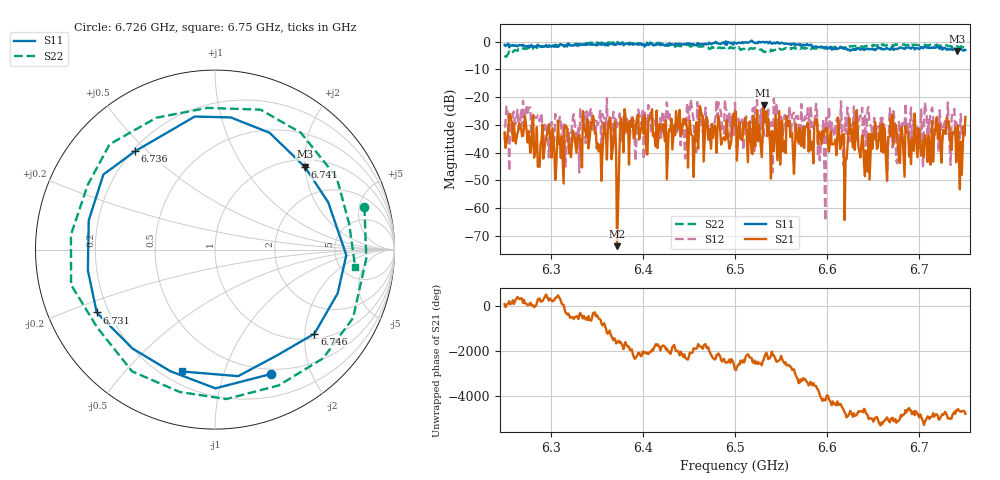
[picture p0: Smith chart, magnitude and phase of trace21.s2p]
# Hz S RI R 50
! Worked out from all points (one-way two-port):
!   401 points, 6.25 GHz to 6.75 GHz, reference 50 ohm
!   highest |S21| = -22.78 dB at 6.531 GHz (marker M1); lowest = -73.7 dB at 6.372 GHz (marker M2)
!   lowest |S11| = -3.3 dB at 6.741 GHz (marker M3), VSWR 5.26, Z = 58.1 + j99.8 ohm
!   |S11| at or under -10 dB: nowhere
!   |S22| runs from -5.6 to -0.1 dB; largest |S21 - S12| = 0.15
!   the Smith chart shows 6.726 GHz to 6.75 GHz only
!   S11 on the Smith chart (normalised r, x): 6.726 GHz: 0.44, -1.45; 6.731 GHz: 0.15, -0.24; 6.736 GHz: 0.21, +0.46; 6.741 GHz: 1.16, +2.00; 6.746 GHz: 1.13, -2.24; 6.75 GHz: 0.27, -0.73
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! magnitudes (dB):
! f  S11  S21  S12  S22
! 6.25 GHz  -1.2  -32.8  -35.5  -5.6
! 6.334 GHz  -1.0  -45.3  -29.0  -0.8
! 6.368 GHz  -1.1  -36.4  -25.3  -0.2
! 6.372 GHz  -0.6  -73.7  -30.9  -0.1
! 6.379 GHz  -1.3  -39.8  -26.4  -0.6
! 6.418 GHz  -0.8  -29.7  -34.7  -0.4
! 6.5 GHz  -0.5  -25.5  -22.0  -2.4
! 6.531 GHz  -0.1  -22.8  -31.5  -3.7
! 6.584 GHz  -1.5  -36.1  -30.9  -2.0
! 6.595 GHz  -2.1  -32.0  -32.2  -2.1
! 6.612 GHz  -2.5  -27.3  -33.2  -2.3
! 6.62 GHz  -2.2  -42.1  -27.3  -2.2
! 6.626 GHz  -3.0  -31.5  -29.0  -1.7
! 6.644 GHz  -2.5  -46.8  -23.9  -1.6
! 6.65 GHz  -2.9  -33.9  -33.6  -1.1
! 6.668 GHz  -2.9  -34.0  -24.0  -1.2
! 6.726 GHz  -2.4  -31.8  -30.6  -1.3
! 6.731 GHz  -2.5  -29.4  -21.9  -1.6
! 6.736 GHz  -3.0  -32.6  -25.8  -2.1
! 6.741 GHz  -3.3  -35.7  -30.9  -1.6
! 6.746 GHz  -2.8  -48.0  -34.5  -1.9
! 6.75 GHz  -3.0  -27.2  -30.5  -2.1
